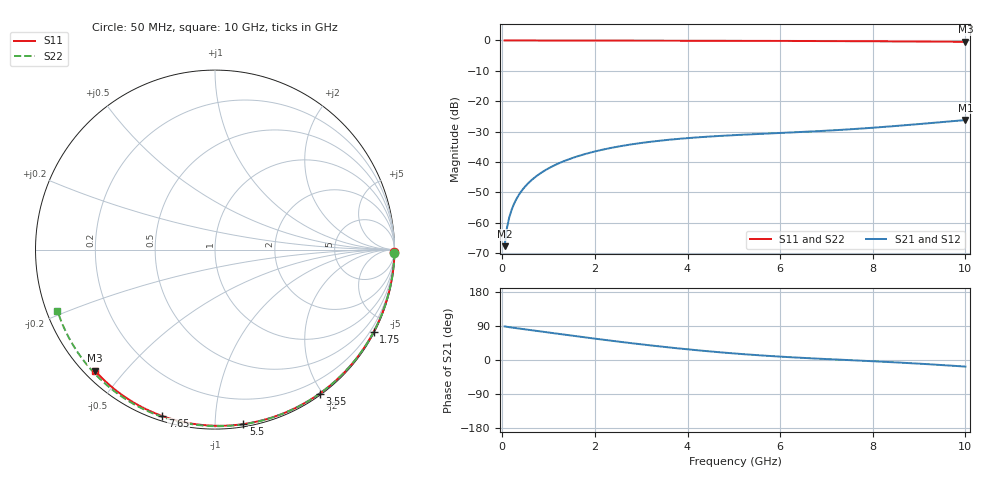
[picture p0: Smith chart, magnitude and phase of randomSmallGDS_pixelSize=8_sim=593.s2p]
! freq	dB(S11)	phase(S11)	dB(S12)	phase(S12)
!  dB(S21)	phase(S21)	dB(S22)	phase(S22)
!S-par simulation data
#  GHz  S  DB  R 50
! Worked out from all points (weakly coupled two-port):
!   200 points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, 50 MHz to 10 GHz, reference 50 ohm
!   highest |S21| = -26.19 dB at 10 GHz (marker M1); lowest = -67.7 dB at 50 MHz (marker M2)
!   lowest |S11| = -0.4 dB at 10 GHz (marker M3), VSWR 38.62, Z = 1.52 - j20.8 ohm
!   |S11| at or under -10 dB: nowhere
!   |S22| runs from -0.5 to 0.0 dB; largest |S21 - S12| = 0
!   S11 on the Smith chart (normalised r, x): 50 MHz: open; 1.75 GHz: 0.04, -4.12; 3.55 GHz: 0.02, -1.96; 5.5 GHz: 0.02, -1.18; 7.65 GHz: 0.02, -0.73; 10 GHz: 0.03, -0.42
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0.05  -0.00 -0.8  -67.69 88.7  -67.69 88.7  -0.00 -0.9
0.1  -0.00 -1.6  -61.71 87.6  -61.71 87.6  -0.00 -1.9
0.15  -0.00 -2.4  -58.23 86.6  -58.23 86.6  -0.00 -2.8
0.2  -0.00 -3.2  -55.78 85.7  -55.78 85.7  -0.00 -3.8
0.25  -0.00 -4.0  -53.87 84.8  -53.87 84.8  -0.00 -4.7
0.35  -0.00 -5.6  -50.99 83.2  -50.99 83.2  -0.00 -6.6
0.5  -0.01 -7.9  -47.94 80.8  -47.94 80.8  -0.01 -9.4
0.7  -0.01 -11.1  -45.08 77.5  -45.08 77.5  -0.01 -13.1
1  -0.02 -15.7  -42.07 72.6  -42.07 72.6  -0.02 -18.7
1.35  -0.03 -21.2  -39.60 66.8  -39.60 66.8  -0.03 -25.1
1.75  -0.04 -27.3  -37.54 60.3  -37.54 60.3  -0.04 -32.4
2.5  -0.05 -38.6  -34.92 48.6  -34.92 48.6  -0.06 -45.8
3.4  -0.07 -51.8  -32.99 35.8  -32.99 35.8  -0.08 -61.3
3.55  -0.07 -54.0  -32.75 33.8  -32.75 33.8  -0.09 -63.8
4.3  -0.09 -64.6  -31.79 24.7  -31.79 24.7  -0.11 -76.1
5.05  -0.12 -74.8  -31.12 16.9  -31.12 16.9  -0.14 -87.9
5.5  -0.13 -80.7  -30.79 12.8  -30.79 12.8  -0.16 -94.8
6.7  -0.19 -96.0  -29.94 4.2  -29.94 4.2  -0.22 -112.5
7.65  -0.24 -107.5  -29.09 -1.2  -29.09 -1.2  -0.28 -126.0
8.35  -0.29 -115.8  -28.32 -5.3  -28.32 -5.3  -0.34 -135.7
9.2  -0.37 -125.6  -27.25 -11.1  -27.25 -11.1  -0.43 -147.6
10  -0.45 -134.7  -26.19 -17.4  -26.19 -17.4  -0.52 -158.8
